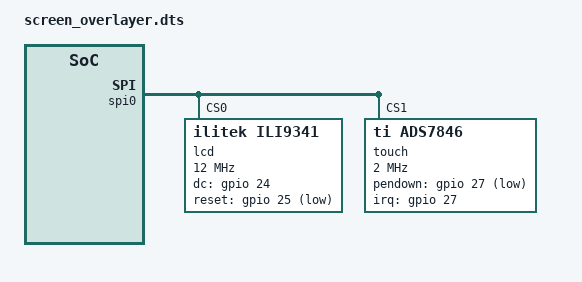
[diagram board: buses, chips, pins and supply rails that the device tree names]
/dts-v1/;
/plugin/;

#include <dt-bindings/gpio/gpio.h>
#include <dt-bindings/interrupt-controller/irq.h>

&spi0 {
    status = "okay";

    spidev@0 {
        status = "disabled";
    };
    spidev@1 {
        status = "disabled";
    };

    lcd@0 {
        compatible = "ilitek,ili9341";
        reg = <0>;
        buswidth = <8>;
        spi-max-frequency = <12000000>;
        dc-gpios = <&gpio 24 GPIO_ACTIVE_HIGH>;
        reset-gpios = <&gpio 25 GPIO_ACTIVE_LOW>;
        rotate = <90>;
        status = "okay";
    };

    touch@1 {
        compatible = "ti,ads7846";
        reg = <1>;                         
        spi-max-frequency = <2000000>;    
        interrupt-parent = <&gpio>;
        interrupts = <27 IRQ_TYPE_EDGE_FALLING>;
        pendown-gpios = <&gpio 27 GPIO_ACTIVE_LOW>;
        touchscreen-swapped-x-y;
        ti,x-min = /bits/ 16 <200>;
        ti,x-max = /bits/ 16 <3900>;
        ti,y-min = /bits/ 16 <200>;
        ti,y-max = /bits/ 16 <3900>;
        ti,pressure-min = /bits/ 16 <0>;
        ti,pressure-max = /bits/ 16 <15000>;
        ti,x-plate-ohms = /bits/ 16 <400>;
        ti,debounce-max = /bits/ 16 <10>;
        ti,debounce-tol = /bits/ 16 <30>;
        ti,debounce-rep = /bits/ 16 <3>;
    };
};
